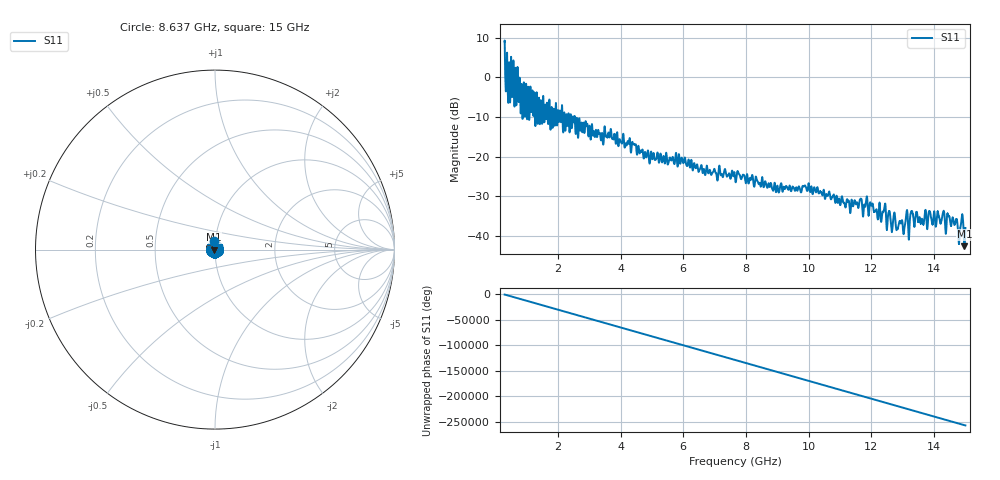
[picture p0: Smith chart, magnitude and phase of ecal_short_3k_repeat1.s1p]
# GHZ S RI R 50.0
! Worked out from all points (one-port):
!   12801 points, 300 MHz to 15 GHz, reference 50 ohm
!   lowest |S11| = -42.7 dB at 14.97 GHz (marker M1), VSWR 1.01, Z = 49.3 + j0.0408 ohm
!   |S11| at or under -10 dB: 2.346 GHz to 2.401 GHz (54.88 MHz wide, 2.31 % of centre); 2.415 GHz to 2.474 GHz (59.01 MHz wide, 2.41 % of centre); 2.537 GHz to end of sweep (the widest 3 of 23)
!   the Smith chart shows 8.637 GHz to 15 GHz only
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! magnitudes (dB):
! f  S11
! 300 MHz  9.1
! 406.8 MHz  -4.5
! 713.4 MHz  2.3
! 880 MHz  -10.2
! 1.181 GHz  -4.1
! 1.422 GHz  -11.8
! 1.591 GHz  -7.8
! 1.825 GHz  -12.5
! 2.138 GHz  -7.8
! 3.975 GHz  -15.7
! 4.426 GHz  -16.8
! 4.964 GHz  -19.0
! 5.812 GHz  -22.5
! 6.662 GHz  -23.2
! 7.65 GHz  -25.3
! 9.488 GHz  -27.6
! 10.23 GHz  -29.0
! 11.32 GHz  -34.3
! 12.01 GHz  -32.4
! 12.26 GHz  -31.6
! 12.4 GHz  -33.6
! 12.84 GHz  -38.2
! 13.16 GHz  -35.6
! 13.29 GHz  -33.8
! 13.62 GHz  -35.8
! 14.28 GHz  -34.4
! 14.97 GHz  -42.7
! 15 GHz  -38.1
